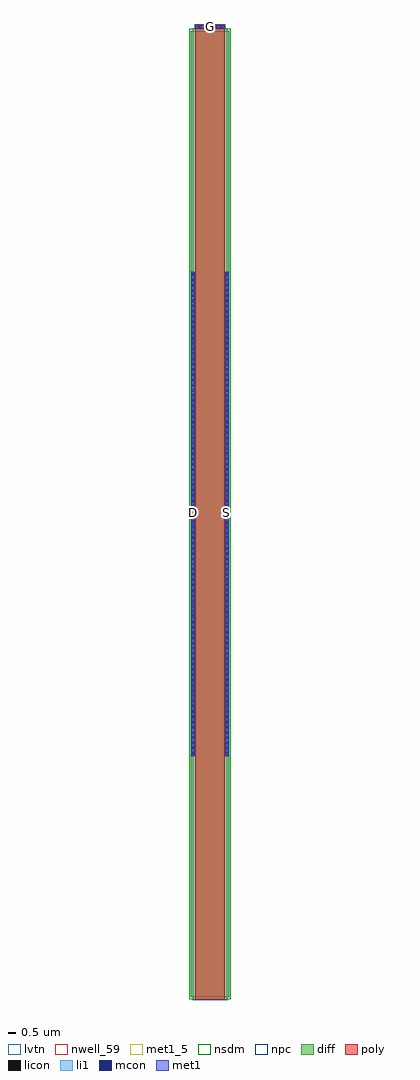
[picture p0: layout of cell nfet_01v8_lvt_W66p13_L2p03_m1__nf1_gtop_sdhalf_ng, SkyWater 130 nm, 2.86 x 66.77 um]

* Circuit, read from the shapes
.subckt nfet_01v8_lvt_W66p13_L2p03_m1__nf1_gtop_sdhalf_ng B D G S
XM1 S G D B sky130_fd_pr__nfet_01v8_lvt w=66.13 l=2.03
.ends

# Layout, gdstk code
import gdstk
lib = gdstk.Library(unit=1e-6, precision=1e-09)
def R(c, l, rs):  # rectangles x0, y0, x1, y1
    for r in rs: c.add(gdstk.rectangle(r[:2], r[2:], *l))
def A(c, l, x, y, w, h, nx, ny, dx, dy):  # array of equal rectangles
    R(c, l, [(x+i*dx, y+j*dy, x+i*dx+w, y+j*dy+h) for i in range(nx) for j in range(ny)])
nwell_59 = (64, 59)
diff = (65, 20)
poly = (66, 20)
licon = (66, 44)
li1 = (67, 20)
mcon = (67, 44)
met1_5 = (68, 5)
met1 = (68, 20)
nsdm = (93, 44)
npc = (95, 20)
lvtn = (125, 44)

sky130_fd_pr__nfet_01v8_ = lib.new_cell('sky130_fd_pr__nfet_01v8_lvt_U5LJPY')
R(sky130_fd_pr__nfet_01v8_, diff, [(-1.305,-33.22,1.305,32.91)])
R(sky130_fd_pr__nfet_01v8_, poly, [(-1.015,-33.35,1.015,33.35)])
A(sky130_fd_pr__nfet_01v8_, licon, -1.245, -16.56, 0.17, 0.17, 1, 97, 0, 0.34)
A(sky130_fd_pr__nfet_01v8_, licon, 1.075, -16.56, 0.17, 0.17, 1, 97, 0, 0.34)
A(sky130_fd_pr__nfet_01v8_, licon, -0.935, 33.1, 0.17, 0.17, 6, 1, 0.34, 0)
R(sky130_fd_pr__nfet_01v8_, li1, [(-1.245,-16.74,-1.075,16.43), (1.075,-16.74,1.245,16.43), (-1.015,33.1,1.015,33.27)])
A(sky130_fd_pr__nfet_01v8_, mcon, -1.245, -16.62, 0.17, 0.17, 1, 92, 0, 0.36)
A(sky130_fd_pr__nfet_01v8_, mcon, 1.075, -16.62, 0.17, 0.17, 1, 92, 0, 0.36)
A(sky130_fd_pr__nfet_01v8_, mcon, -0.805, 33.1, 0.17, 0.17, 5, 1, 0.36, 0)
R(sky130_fd_pr__nfet_01v8_, met1, [(-1.275,-16.72,-1.045,16.41), (1.045,-16.72,1.275,16.41), (-0.995,33.07,0.995,33.3)])
R(sky130_fd_pr__nfet_01v8_, nsdm, [(-1.43,-33.345,1.43,33.035)])
R(sky130_fd_pr__nfet_01v8_, npc, [(-1.035,33,1.035,33.37)])
R(sky130_fd_pr__nfet_01v8_, lvtn, [(-1.195,-33.4,1.195,33.09)])
sky130_fd_pr__nfet_01v8_.add(gdstk.Label('D', (-1.16,-0.155), layer=67, texttype=5))
sky130_fd_pr__nfet_01v8_.add(gdstk.Label('S', (1.16,-0.155), layer=67, texttype=5))
sky130_fd_pr__nfet_01v8_.add(gdstk.Label('G', (0,33.185), layer=67, texttype=5))

nfet_01v8_lvt_w66p13_l2p = lib.new_cell('nfet_01v8_lvt_W66p13_L2p03_m1__nf1_gtop_sdhalf_ng')
R(nfet_01v8_lvt_w66p13_l2p, nwell_59, [(0.05,33.145,0.15,33.245)])
R(nfet_01v8_lvt_w66p13_l2p, met1_5, [(0.03,33.195,0.26,33.395), (2.35,33.195,2.58,33.395), (0.31,66.42,2.3,66.65)])
R(nfet_01v8_lvt_w66p13_l2p, met1, [(0.03,33.195,0.26,33.395), (2.35,33.195,2.58,33.395), (0.31,66.42,2.3,66.65)])
nfet_01v8_lvt_w66p13_l2p.add(gdstk.Reference(sky130_fd_pr__nfet_01v8_, (1.305,33.35)))
nfet_01v8_lvt_w66p13_l2p.add(gdstk.Label('D', (0.145,33.295), layer=68, texttype=5))
nfet_01v8_lvt_w66p13_l2p.add(gdstk.Label('S', (2.465,33.295), layer=68, texttype=5))
nfet_01v8_lvt_w66p13_l2p.add(gdstk.Label('G', (1.305,66.535), layer=68, texttype=5))
nfet_01v8_lvt_w66p13_l2p.add(gdstk.Label('B', (0.1,33.195), layer=64, texttype=59))

lib.write_gds('nfet_01v8_lvt_W66p13_L2p03_m1__nf1_gtop_sdhalf_ng.gds')
